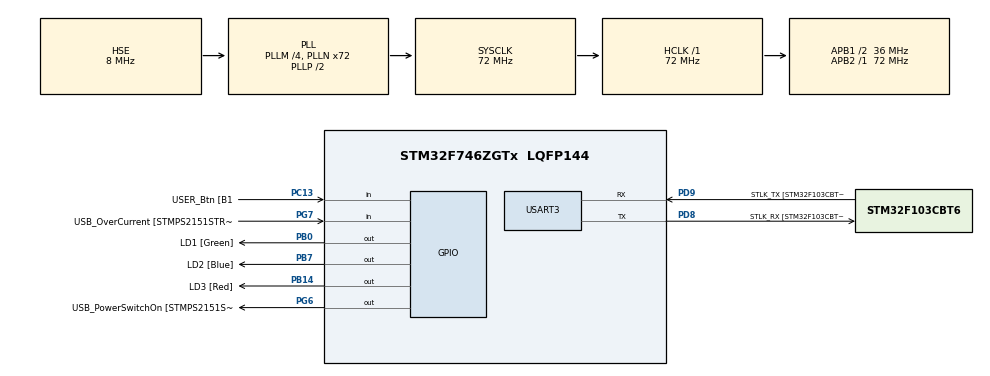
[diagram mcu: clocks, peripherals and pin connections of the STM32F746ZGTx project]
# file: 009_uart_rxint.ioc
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Mcu.Family=STM32F7
Mcu.Name=STM32F746ZGTx
Mcu.Package=LQFP144
NVIC.PriorityGroup=NVIC_PRIORITYGROUP_4
NVIC.USART3_IRQn=true\:0\:0\:false\:false\:true\:true\:true
PA1.GPIO_Label=RMII_REF_CLK [LAN8742A-CZ-TR_REFCLK0]
PA1.Signal=ETH_REF_CLK
PA10.GPIO_Label=USB_ID
PA10.Signal=USB_OTG_FS_ID
PA11.GPIO_Label=USB_DM
PA11.Signal=USB_OTG_FS_DM
PA12.GPIO_Label=USB_DP
PA12.Signal=USB_OTG_FS_DP
PA13.GPIO_Label=TMS
PA13.Mode=Serial_Wire
PA13.Signal=SYS_JTMS-SWDIO
PA14.GPIO_Label=TCK
PA14.Mode=Serial_Wire
PA14.Signal=SYS_JTCK-SWCLK
PA2.GPIO_Label=RMII_MDIO [LAN8742A-CZ-TR_MDIO]
PA2.Signal=ETH_MDIO
PA7.GPIO_Label=RMII_CRS_DV [LAN8742A-CZ-TR_CRS_DV]
PA7.Signal=ETH_CRS_DV
PA8.GPIO_Label=USB_SOF [TP1]
PA8.Signal=USB_OTG_FS_SOF
PA9.GPIO_Label=USB_VBUS
PA9.Signal=USB_OTG_FS_VBUS
PB0.GPIO_Label=LD1 [Green]
PB0.Signal=GPIO_Output
PB13.GPIO_Label=RMII_TXD1 [LAN8742A-CZ-TR_TXD1]
PB13.Signal=ETH_TXD1
PB14.GPIO_Label=LD3 [Red]
PB14.Signal=GPIO_Output
PB3.GPIO_Label=SW0
PB3.Signal=SYS_JTDO-SWO
PB7.GPIO_Label=LD2 [Blue]
PB7.Signal=GPIO_Output
PC1.GPIO_Label=RMII_MDC [LAN8742A-CZ-TR_MDC]
PC1.Signal=ETH_MDC
PC13.GPIO_Label=USER_Btn [B1
PC13.Signal=GPIO_Input
PC14/OSC32_IN.Mode=LSE-External-Oscillator
PC14/OSC32_IN.Signal=RCC_OSC32_IN
PC15/OSC32_OUT.Mode=LSE-External-Oscillator
PC15/OSC32_OUT.Signal=RCC_OSC32_OUT
PC4.GPIO_Label=RMII_RXD0 [LAN8742A-CZ-TR_RXD0]
PC4.Signal=ETH_RXD0
PC5.GPIO_Label=RMII_RXD1 [LAN8742A-CZ-TR_RXD1]
PC5.Signal=ETH_RXD1
PD8.GPIO_Label=STLK_RX [STM32F103CBT6_PA3]
PD8.Mode=Asynchronous
PD8.Signal=USART3_TX
PD9.GPIO_Label=STLK_TX [STM32F103CBT6_PA2]
PD9.Mode=Asynchronous
PD9.Signal=USART3_RX
PG11.GPIO_Label=RMII_TX_EN [LAN8742A-CZ-TR_TXEN]
PG11.Signal=ETH_TX_EN
PG13.GPIO_Label=RMII_TXD0 [LAN8742A-CZ-TR_TXD0]
PG13.Signal=ETH_TXD0
PG6.GPIO_Label=USB_PowerSwitchOn [STMPS2151STR_EN]
PG6.Signal=GPIO_Output
PG7.GPIO_Label=USB_OverCurrent [STMPS2151STR_FAULT]
PG7.Signal=GPIO_Input
PH0/OSC_IN.GPIO_Label=MCO [STM32F103CBT6_PA8]
PH0/OSC_IN.Mode=HSE-External-Clock-Source
PH0/OSC_IN.Signal=RCC_OSC_IN
PH1/OSC_OUT.Mode=HSE-External-Clock-Source
PH1/OSC_OUT.Signal=RCC_OSC_OUT
ProjectManager.HeapSize=0x200
ProjectManager.StackSize=0x400
ProjectManager.TargetToolchain=STM32CubeIDE
RCC.48MHZClocksFreq_Value=24000000
RCC.AHBFreq_Value=72000000
RCC.APB1CLKDivider=RCC_HCLK_DIV2
RCC.APB1Freq_Value=36000000
RCC.APB1TimFreq_Value=72000000
RCC.APB2Freq_Value=72000000
RCC.APB2TimFreq_Value=72000000
RCC.CortexFreq_Value=72000000
RCC.HCLKFreq_Value=72000000
RCC.HSE_VALUE=8000000
RCC.HSI_VALUE=16000000
RCC.PLLM=4
RCC.PLLMUL=RCC_PLL_MUL9
RCC.PLLN=72
RCC.PLLQ=3
RCC.PLLSourceVirtual=RCC_PLLSOURCE_HSE
RCC.PRESCALERUSB=RCC_USBCLKSOURCE_PLL_DIV1_5
RCC.SYSCLKFreq_VALUE=72000000
RCC.SYSCLKSource=RCC_SYSCLKSOURCE_PLLCLK
RCC.SYSCLKSourceVirtual=RCC_SYSCLKSOURCE_PLLCLK
RCC.USBFreq_Value=48000000
RCC.VCOOutputFreq_Value=144000000
USART3.VirtualMode-Asynchronous=VM_ASYNC
board=NUCLEO-F746ZG

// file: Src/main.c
/* USER CODE BEGIN Header */
/**
  ******************************************************************************
  * @file           : main.c
  * @brief          : Main program body
  ******************************************************************************
  * @attention
  *
  * <h2><center>&copy; Copyright (c) 2020 STMicroelectronics.
  * All rights reserved.</center></h2>
  *
  * This software component is licensed by ST under BSD 3-Clause license,
  * the "License"; You may not use this file except in compliance with the
  * License. You may obtain a copy of the License at:
  *                        opensource.org/licenses/BSD-3-Clause
  *
  ******************************************************************************
  */
/* USER CODE END Header */
#include "main.h"

UART_HandleTypeDef huart3;

void SystemClock_Config(void);
static void MX_GPIO_Init(void);
static void MX_USART3_UART_Init(void);

int main(void)
{

  /* MCU Configuration--------------------------------------------------------*/

  /* Reset of all peripherals, Initializes the Flash interface and the Systick. */
  HAL_Init();

  /* Configure the system clock */
  SystemClock_Config();

  /* Initialize all configured peripherals */
  MX_GPIO_Init();
  MX_USART3_UART_Init();
  /* USER CODE BEGIN 2 */
  __HAL_UART_ENABLE_IT(&huart3, UART_IT_RXNE);
  /* USER CODE END 2 */

  /* Infinite loop */
  /* USER CODE BEGIN WHILE */
  GPIO_PinState state = HAL_GPIO_ReadPin(GPIOC, GPIO_PIN_13);
  while (1)
  {
    /* USER CODE END WHILE */

    /* USER CODE BEGIN 3 */
    GPIO_PinState new_state = HAL_GPIO_ReadPin(GPIOC, GPIO_PIN_13);
    if (state!=new_state) {
      state=new_state;
      HAL_Delay(10); // delay for debouncing
      // sending text over fast 115200bps will cause delay of 1ms per 10 characters
      // sending text over slow   9600bps will cause delay of 1ms per character - set timeout accordingly
      if (state) {
        HAL_GPIO_TogglePin(GPIOB, GPIO_PIN_0);
        HAL_UART_Transmit(&huart3, (void*)"button pressed\r\n", 16, 2);
        if (HAL_GPIO_ReadPin(GPIOB, GPIO_PIN_0)) {
          HAL_UART_Transmit(&huart3, (void*)"LED is on\r\n", 11, 2);
        } else {
          HAL_UART_Transmit(&huart3, (void*)"LED is off\r\n", 12, 2);
        }
      } else {
        HAL_UART_Transmit(&huart3, (void*)"button released\r\n", 17, 2);
      }
    }
  }
  /* USER CODE END 3 */
}

void SystemClock_Config(void)
{
  RCC_OscInitTypeDef RCC_OscInitStruct = {0};
  RCC_ClkInitTypeDef RCC_ClkInitStruct = {0};

  /** Configure LSE Drive Capability
  */
  HAL_PWR_EnableBkUpAccess();
  /** Configure the main internal regulator output voltage
  */
  __HAL_RCC_PWR_CLK_ENABLE();
  __HAL_PWR_VOLTAGESCALING_CONFIG(PWR_REGULATOR_VOLTAGE_SCALE3);
  /** Initializes the RCC Oscillators according to the specified parameters
  * in the RCC_OscInitTypeDef structure.
  */
  RCC_OscInitStruct.OscillatorType = RCC_OSCILLATORTYPE_HSE;
  RCC_OscInitStruct.HSEState = RCC_HSE_BYPASS;
  RCC_OscInitStruct.PLL.PLLState = RCC_PLL_ON;
  RCC_OscInitStruct.PLL.PLLSource = RCC_PLLSOURCE_HSE;
  RCC_OscInitStruct.PLL.PLLM = 4;
  RCC_OscInitStruct.PLL.PLLN = 72;
  RCC_OscInitStruct.PLL.PLLP = RCC_PLLP_DIV2;
  RCC_OscInitStruct.PLL.PLLQ = 3;
  if (HAL_RCC_OscConfig(&RCC_OscInitStruct) != HAL_OK)
  {
    Error_Handler();
  }
  /** Initializes the CPU, AHB and APB buses clocks
  */
  RCC_ClkInitStruct.ClockType = RCC_CLOCKTYPE_HCLK|RCC_CLOCKTYPE_SYSCLK
                              |RCC_CLOCKTYPE_PCLK1|RCC_CLOCKTYPE_PCLK2;
  RCC_ClkInitStruct.SYSCLKSource = RCC_SYSCLKSOURCE_PLLCLK;
  RCC_ClkInitStruct.AHBCLKDivider = RCC_SYSCLK_DIV1;
  RCC_ClkInitStruct.APB1CLKDivider = RCC_HCLK_DIV2;
  RCC_ClkInitStruct.APB2CLKDivider = RCC_HCLK_DIV1;

  if (HAL_RCC_ClockConfig(&RCC_ClkInitStruct, FLASH_LATENCY_2) != HAL_OK)
  {
    Error_Handler();
  }
}

static void MX_USART3_UART_Init(void)
{

  huart3.Instance = USART3;
  huart3.Init.BaudRate = 115200;
  huart3.Init.WordLength = UART_WORDLENGTH_8B;
  huart3.Init.StopBits = UART_STOPBITS_1;
  huart3.Init.Parity = UART_PARITY_NONE;
  huart3.Init.Mode = UART_MODE_TX_RX;
  huart3.Init.HwFlowCtl = UART_HWCONTROL_NONE;
  huart3.Init.OverSampling = UART_OVERSAMPLING_16;
  huart3.Init.OneBitSampling = UART_ONE_BIT_SAMPLE_DISABLE;
  huart3.AdvancedInit.AdvFeatureInit = UART_ADVFEATURE_NO_INIT;
  if (HAL_UART_Init(&huart3) != HAL_OK)
  {
    Error_Handler();
  }

}

static void MX_GPIO_Init(void)
{
  GPIO_InitTypeDef GPIO_InitStruct = {0};

  /* GPIO Ports Clock Enable */
  __HAL_RCC_GPIOC_CLK_ENABLE();
  __HAL_RCC_GPIOH_CLK_ENABLE();
  __HAL_RCC_GPIOA_CLK_ENABLE();
  __HAL_RCC_GPIOB_CLK_ENABLE();
  __HAL_RCC_GPIOD_CLK_ENABLE();
  __HAL_RCC_GPIOG_CLK_ENABLE();

  /*Configure GPIO pin Output Level */
  HAL_GPIO_WritePin(GPIOB, LD1_Pin|LD3_Pin|LD2_Pin, GPIO_PIN_RESET);

  /*Configure GPIO pin Output Level */
  HAL_GPIO_WritePin(USB_PowerSwitchOn_GPIO_Port, USB_PowerSwitchOn_Pin, GPIO_PIN_RESET);

  /*Configure GPIO pin : USER_Btn__B1_Pin */
  GPIO_InitStruct.Pin = USER_Btn__B1_Pin;
  GPIO_InitStruct.Mode = GPIO_MODE_INPUT;
  GPIO_InitStruct.Pull = GPIO_NOPULL;
  HAL_GPIO_Init(USER_Btn__B1_GPIO_Port, &GPIO_InitStruct);

  /*Configure GPIO pins : RMII_MDC_Pin RMII_RXD0_Pin RMII_RXD1_Pin */
  GPIO_InitStruct.Pin = RMII_MDC_Pin|RMII_RXD0_Pin|RMII_RXD1_Pin;
  GPIO_InitStruct.Mode = GPIO_MODE_AF_PP;
  GPIO_InitStruct.Pull = GPIO_NOPULL;
  GPIO_InitStruct.Speed = GPIO_SPEED_FREQ_VERY_HIGH;
  GPIO_InitStruct.Alternate = GPIO_AF11_ETH;
  HAL_GPIO_Init(GPIOC, &GPIO_InitStruct);

  /*Configure GPIO pins : RMII_REF_CLK_Pin RMII_MDIO_Pin RMII_CRS_DV_Pin */
  GPIO_InitStruct.Pin = RMII_REF_CLK_Pin|RMII_MDIO_Pin|RMII_CRS_DV_Pin;
  GPIO_InitStruct.Mode = GPIO_MODE_AF_PP;
  GPIO_InitStruct.Pull = GPIO_NOPULL;
  GPIO_InitStruct.Speed = GPIO_SPEED_FREQ_VERY_HIGH;
  GPIO_InitStruct.Alternate = GPIO_AF11_ETH;
  HAL_GPIO_Init(GPIOA, &GPIO_InitStruct);

  /*Configure GPIO pins : LD1_Pin LD3_Pin LD2_Pin */
  GPIO_InitStruct.Pin = LD1_Pin|LD3_Pin|LD2_Pin;
  GPIO_InitStruct.Mode = GPIO_MODE_OUTPUT_PP;
  GPIO_InitStruct.Pull = GPIO_NOPULL;
  GPIO_InitStruct.Speed = GPIO_SPEED_FREQ_LOW;
  HAL_GPIO_Init(GPIOB, &GPIO_InitStruct);

  /*Configure GPIO pin : RMII_TXD1_Pin */
  GPIO_InitStruct.Pin = RMII_TXD1_Pin;
  GPIO_InitStruct.Mode = GPIO_MODE_AF_PP;
  GPIO_InitStruct.Pull = GPIO_NOPULL;
  GPIO_InitStruct.Speed = GPIO_SPEED_FREQ_VERY_HIGH;
  GPIO_InitStruct.Alternate = GPIO_AF11_ETH;
  HAL_GPIO_Init(RMII_TXD1_GPIO_Port, &GPIO_InitStruct);

  /*Configure GPIO pin : USB_PowerSwitchOn_Pin */
  GPIO_InitStruct.Pin = USB_PowerSwitchOn_Pin;
  GPIO_InitStruct.Mode = GPIO_MODE_OUTPUT_PP;
  GPIO_InitStruct.Pull = GPIO_NOPULL;
  GPIO_InitStruct.Speed = GPIO_SPEED_FREQ_LOW;
  HAL_GPIO_Init(USB_PowerSwitchOn_GPIO_Port, &GPIO_InitStruct);

  /*Configure GPIO pin : USB_OverCurrent_Pin */
  GPIO_InitStruct.Pin = USB_OverCurrent_Pin;
  GPIO_InitStruct.Mode = GPIO_MODE_INPUT;
  GPIO_InitStruct.Pull = GPIO_NOPULL;
  HAL_GPIO_Init(USB_OverCurrent_GPIO_Port, &GPIO_InitStruct);

  /*Configure GPIO pins : USB_SOF_Pin USB_ID_Pin USB_DM_Pin USB_DP_Pin */
  GPIO_InitStruct.Pin = USB_SOF_Pin|USB_ID_Pin|USB_DM_Pin|USB_DP_Pin;
  GPIO_InitStruct.Mode = GPIO_MODE_AF_PP;
  GPIO_InitStruct.Pull = GPIO_NOPULL;
  GPIO_InitStruct.Speed = GPIO_SPEED_FREQ_VERY_HIGH;
  GPIO_InitStruct.Alternate = GPIO_AF10_OTG_FS;
  HAL_GPIO_Init(GPIOA, &GPIO_InitStruct);

  /*Configure GPIO pin : USB_VBUS_Pin */
  GPIO_InitStruct.Pin = USB_VBUS_Pin;
  GPIO_InitStruct.Mode = GPIO_MODE_INPUT;
  GPIO_InitStruct.Pull = GPIO_NOPULL;
  HAL_GPIO_Init(USB_VBUS_GPIO_Port, &GPIO_InitStruct);

  /*Configure GPIO pins : RMII_TX_EN_Pin RMII_TXD0_Pin */
  GPIO_InitStruct.Pin = RMII_TX_EN_Pin|RMII_TXD0_Pin;
  GPIO_InitStruct.Mode = GPIO_MODE_AF_PP;
  GPIO_InitStruct.Pull = GPIO_NOPULL;
  GPIO_InitStruct.Speed = GPIO_SPEED_FREQ_VERY_HIGH;
  GPIO_InitStruct.Alternate = GPIO_AF11_ETH;
  HAL_GPIO_Init(GPIOG, &GPIO_InitStruct);

}

void Error_Handler(void)
{
}
